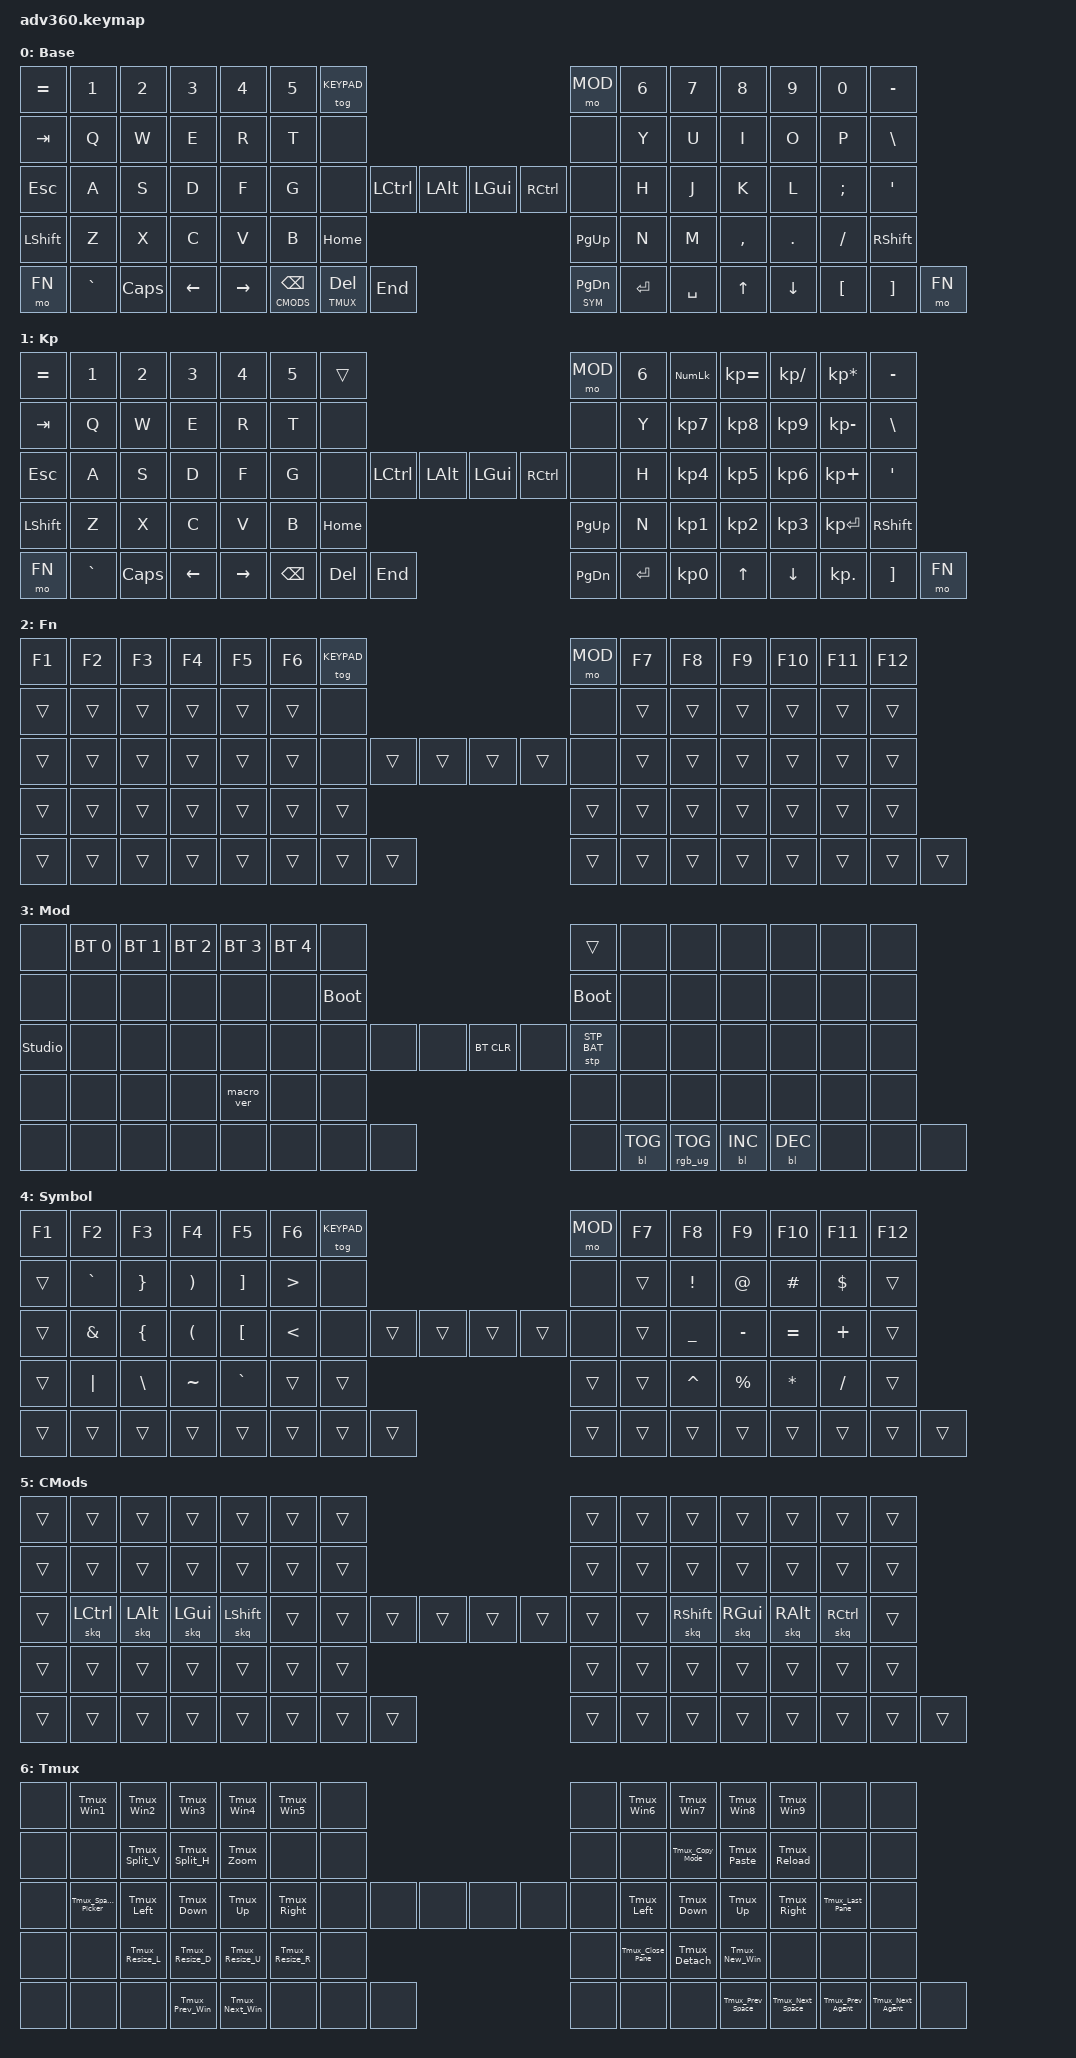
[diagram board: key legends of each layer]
#include <behaviors.dtsi>
#include <dt-bindings/zmk/keys.h>
#include <dt-bindings/zmk/bt.h>
#include <dt-bindings/zmk/rgb.h>
#include <dt-bindings/zmk/stp.h>
#include <dt-bindings/zmk/backlight.h>
#include <dt-bindings/zmk/pointing.h>

// Layer indices
#define BASE   0
#define KEYPAD 1
#define FN     2
#define MOD    3
#define SYM    4
#define CMODS  5
#define TMUX   6

/ {
    // Configure sticky keys for callum-style mods:
    //  - release-after-ms: auto-release if no key pressed within 1 second
    //  - quick-release: modifier releases as soon as the modified key is pressed (not on release)
    //  - ignore-modifiers is ON by default in ZMK, which allows chaining multiple sticky mods
    //    e.g. sk(Cmd) + sk(Shift) + key = Cmd+Shift+key
    behaviors {
      #include "macros.dtsi"
      #include "version.dtsi"

      skq: sticky_key_quick_release {
          compatible = "zmk,behavior-sticky-key";
          label = "STICKY_KEY_QUICK_RELEASE";
          #binding-cells = <1>;
          bindings = <&kp>;
          release-after-ms = <1000>;
          quick-release;
          ignore-modifiers;
      };

      // Layer-tap tuned for high-frequency thumb keys (Space, Backspace).
      // 175ms tapping-term is snappier than the default 200ms so quick
      // taps register immediately. Balanced flavor means the hold only
      // triggers if you're still holding when another key is pressed OR
      // the tapping-term expires — this prevents accidental layer
      // activation during fast typing bursts.
      //
      // require-prior-idle-ms: if any key was pressed within 125ms
      // before this key, it always resolves as a tap. This prevents
      // accidental layer activation during fast typing (e.g. "to only"
      // triggering SYM and producing "to#nly").
      //
      // quick-tap-ms: if this same key was tapped within 175ms,
      // immediately resolve as tap (e.g. double-space always spaces).
      ltq: layer_tap_quick {
          compatible = "zmk,behavior-hold-tap";
          label = "LAYER_TAP_QUICK";
          #binding-cells = <2>;
          flavor = "balanced";
          tapping-term-ms = <175>;
          quick-tap-ms = <175>;
          require-prior-idle-ms = <125>;
          bindings = <&mo>, <&kp>;
      };

      // Layer-tap WITHOUT prior-idle guard.
      // Use for thumbs whose tap (PG_DN, DEL) is never typed mid-word,
      // so we can drop the 125ms guard that would otherwise force a tap
      // after rapid typing. This lets sequences like vi}, ci{, da) fire
      // at full speed in Vim without losing the layer to the prior key.
      ltn: layer_tap_no_idle {
          compatible = "zmk,behavior-hold-tap";
          label = "LAYER_TAP_NO_IDLE";
          #binding-cells = <2>;
          flavor = "balanced";
          tapping-term-ms = <175>;
          quick-tap-ms = <175>;
          bindings = <&mo>, <&kp>;
      };
    };

  keymap {
    compatible = "zmk,keymap";

    // ┌──────────────────────────────────────────────────────────────────┐
    // │ LAYER 0: BASE                                                    │
    // │                                                                  │
    // │ Clean QWERTY — no dual-function keys on the home row.            │
    // │ Modifiers live on the Callum Mods layer (CMODS) accessed via     │
    // │ left deep thumb key.                                             │
    // │                                                                  │
    // │ Thumb layer-tap assignments:                                       │
    // │   BSPC  = ltq CMODS BSPC (hold=mods,    tap=backspace)            │
    // │   DEL   = ltq TMUX  DEL  (hold=tmux,    tap=delete)               │
    // │   PG_DN = ltn SYM   PG_DN (hold=symbols, tap=pgdn, no idle guard) │
    // │   SPACE = pure space (no layer)                                   │
    // │                                                                  │
    // │ Physical modifier keys (bridge keys between halves) are kept     │
    // │ for direct access: LCTRL, LALT, LGUI, RCTRL.                     │
    // └──────────────────────────────────────────────────────────────────┘
    default_layer {
      display-name = "Base";
      bindings = <
        &kp EQUAL &kp N1    &kp N2   &kp N3   &kp N4     &kp N5 &tog KEYPAD                                                                     &mo MOD &kp N6 &kp N7 &kp N8    &kp N9   &kp N0   &kp MINUS
        &kp TAB   &kp Q     &kp W    &kp E    &kp R      &kp T  &none                                                                           &none   &kp Y  &kp U  &kp I     &kp O    &kp P    &kp BSLH
        &kp ESC   &kp A     &kp S    &kp D    &kp F      &kp G  &none           &kp LCTRL &kp LALT  &kp LGUI  &kp RCTRL                          &none   &kp H  &kp J  &kp K     &kp L    &kp SEMI &kp SQT
        &kp LSHFT &kp Z     &kp X    &kp C    &kp V      &kp B                            &kp HOME  &kp PG_UP                                           &kp N  &kp M  &kp COMMA &kp DOT  &kp FSLH &kp RSHFT
        &mo FN    &kp GRAVE &kp CAPS &kp LEFT &kp RIGHT         &ltq CMODS BSPC &ltq TMUX DEL &kp END &ltn SYM PG_DN &kp ENTER &kp SPACE                                  &kp UP &kp DOWN  &kp LBKT &kp RBKT &mo FN
      >;
      // Thumb cluster (bottom row, middle 6 keys):
      //   Left:  ltq CMODS BSPC (tap=Backspace, hold=Callum mods), ltq TMUX DEL (tap=Delete, hold=Tmux), END
      //   Right: ltn SYM PG_DN (tap=PgDn, hold=Symbols — no idle guard, fast Vim), ENTER, SPACE
    };

    keypad {
      display-name = "Kp";
      bindings = <
        &kp EQUAL &kp N1    &kp N2   &kp N3   &kp N4     &kp N5 &trans                                                                          &mo MOD &kp N6 &kp KP_NUM &kp KP_EQUAL &kp KP_DIVIDE &kp KP_MULTIPLY &kp MINUS
        &kp TAB   &kp Q     &kp W    &kp E    &kp R      &kp T  &none                                                                           &none   &kp Y  &kp KP_N7  &kp KP_N8    &kp KP_N9     &kp KP_MINUS    &kp BSLH
        &kp ESC   &kp A     &kp S    &kp D    &kp F      &kp G  &none           &kp LCTRL &kp LALT  &kp LGUI  &kp RCTRL                          &none   &kp H  &kp KP_N4  &kp KP_N5    &kp KP_N6     &kp KP_PLUS     &kp SQT
        &kp LSHFT &kp Z     &kp X    &kp C    &kp V      &kp B                            &kp HOME  &kp PG_UP                                           &kp N  &kp KP_N1  &kp KP_N2    &kp KP_N3     &kp KP_ENTER    &kp RSHFT
        &mo FN    &kp GRAVE &kp CAPS &kp LEFT &kp RIGHT                &kp BSPC &kp DEL   &kp END   &kp PG_DN &kp ENTER &kp KP_N0                              &kp UP     &kp DOWN     &kp KP_DOT    &kp RBKT        &mo FN
      >;
    };

    fn {
      display-name = "Fn";
      bindings = <
        &kp F1 &kp F2 &kp F3 &kp F4 &kp F5 &kp F6 &tog KEYPAD                                                    &mo MOD &kp F7 &kp F8 &kp F9 &kp F10 &kp F11 &kp F12
        &trans &trans &trans &trans &trans &trans  &none                                                            &none   &trans &trans &trans &trans  &trans  &trans
        &trans &trans &trans &trans &trans &trans  &none        &trans &trans &trans &trans                          &none   &trans &trans &trans &trans  &trans  &trans
        &trans &trans &trans &trans &trans &trans                      &trans &trans                                        &trans &trans &trans &trans  &trans  &trans
        &trans &trans &trans &trans &trans               &trans &trans &trans &trans &trans &trans                                 &trans &trans &trans  &trans  &trans
      >;
    };

    mod {
      display-name = "Mod";
      bindings = <
        &none &bt BT_SEL 0 &bt BT_SEL 1 &bt BT_SEL 2 &bt BT_SEL 3 &bt BT_SEL 4 &none                                                                     &trans                 &none        &none        &none        &none &none &none
        &none &none        &none        &none        &none        &none        &bootloader                                                               &bootloader            &none        &none        &none        &none &none &none
        &studio_unlock &none        &none        &none        &none        &none        &none                   &none &none &bt BT_CLR &none                      &stp STP_BAT &none        &none        &none        &none &none &none
        &none &none        &none        &none        &macro_ver   &none                                      &none &none                                                        &none        &none        &none        &none &none &none
        &none &none        &none        &none        &none                                       &none &none &none &none      &bl BL_TOG &rgb_ug RGB_TOG                                     &bl BL_INC   &bl BL_DEC   &none &none &none
      >;
    };

    // ┌──────────────────────────────────────────────────────────────────┐
    // │ LAYER 4: SYMBOLS — Optimized for Go and Rust                     │
    // │                                                                  │
    // │ Access: Hold PG_DN key (ltn SYM PG_DN) — no idle guard, instant   │
    // │                                                                  │
    // │ Design rationale:                                                │
    // │  - Left home row: bracket pairs ( { [ < > ] } ) — the chars     │
    // │    you type most in Go/Rust struct/func/slice/generics           │
    // │  - Right home row: operators & special chars used heavily        │
    // │    in both languages                                             │
    // │  - Top row: still has F-keys for debugger shortcuts              │
    // │  - Number row positions: common operator combos                  │
    // │                                                                  │
    // │ Left hand (brackets & grouping):                                 │
    // │   Home: &  {  (  [  <  (& for Go/Rust refs, then brackets)      │
    // │   Above: `  }  )  ]  > (closing counterparts above)             │
    // │   Below: |  \  ~  `    (bitwise & escape operators)              │
    // │                                                                  │
    // │ Right hand (operators):                                          │
    // │   Home: _  -  =  +    (assignment family)                        │
    // │   Above: !  @  #  $   (Rust macros!, attributes, etc)            │
    // │   Below: ^  %  *  /   (arithmetic)                               │
    // │                                                                  │
    // │ For Go: := is easy → type : then SYM+= (or just type :=)        │
    // │ For Rust: -> is _ position minus key, => is = then >             │
    // └──────────────────────────────────────────────────────────────────┘
    symbol {
      display-name = "Symbol";
      bindings = <
        &kp F1    &kp F2    &kp F3   &kp F4    &kp F5         &kp F6 &tog KEYPAD                                                          &mo MOD &kp F7  &kp F8   &kp F9    &kp F10   &kp F11   &kp F12
        &trans    &kp GRAVE &kp RBRC &kp RPAR  &kp RBKT       &kp GT &none                                                                &none   &trans  &kp EXCL &kp AT    &kp HASH  &kp DLLR  &trans
        &trans    &kp AMPS  &kp LBRC &kp LPAR  &kp LBKT       &kp LT &none           &trans &trans &trans &trans                           &none   &trans  &kp UNDER &kp MINUS &kp EQUAL &kp PLUS &trans
        &trans    &kp PIPE  &kp BSLH &kp TILDE &kp GRAVE      &trans                         &trans &trans                                         &trans  &kp CARET &kp PRCNT &kp ASTRK &kp FSLH &trans
        &trans    &trans    &trans   &trans    &trans                       &trans &trans &trans &trans &trans &trans                                        &trans    &trans    &trans    &trans   &trans
      >;
    };

    // ┌──────────────────────────────────────────────────────────────────┐
    // │ LAYER 5: CALLUM MODS                                             │
    // │                                                                  │
    // │ Access: Hold BSPC key (ltq CMODS BSPC)                            │
    // │                                                                  │
    // │ Sticky one-shot modifiers on the home row.                       │
    // │ Tap the mod you want, release the layer key, then tap the        │
    // │ target key. The modifier applies to exactly one keypress.        │
    // │                                                                  │
    // │ Modifier layout (Mac-optimized — CAGS order):                    │
    // │   Left hand home row:                                            │
    // │     A → sticky Ctrl     (most common for terminal/IDE)           │
    // │     S → sticky Alt/Opt  (special chars, option combos)           │
    // │     D → sticky Cmd/GUI  (the primary Mac modifier)               │
    // │     F → sticky Shift    (capitalization, selections)             │
    // │                                                                  │
    // │   Right hand home row (mirrored):                                │
    // │     J → sticky Shift                                             │
    // │     K → sticky Cmd/GUI                                           │
    // │     L → sticky Alt/Opt                                           │
    // │     ; → sticky Ctrl                                              │
    // │                                                                  │
    // │ Why CAGS?                                                        │
    // │   On Mac, Cmd is the most-used modifier (copy/paste/save/etc).   │
    // │   Putting it on D (middle finger) gives the strongest finger     │
    // │   the most common job. Shift on F (index) is natural for the     │
    // │   finger that reaches the most. Ctrl on A (pinky) mirrors its    │
    // │   physical position on a standard keyboard.                      │
    // │                                                                  │
    // │ Usage examples:                                                  │
    // │   Cmd+S (save):    hold CMODS → tap D → release → tap S          │
    // │   Cmd+Shift+F:     hold CMODS → tap D → tap F → release → tap F  │
    // │   Ctrl+C (terminal): hold CMODS → tap A → release → tap C        │
    // └──────────────────────────────────────────────────────────────────┘
    callum_mods {
      display-name = "CMods";
      bindings = <
        &trans    &trans       &trans       &trans       &trans        &trans &trans                                                               &trans  &trans &trans        &trans       &trans       &trans        &trans
        &trans    &trans       &trans       &trans       &trans        &trans &trans                                                               &trans  &trans &trans        &trans       &trans       &trans        &trans
        &trans    &skq LCTRL   &skq LALT    &skq LGUI    &skq LSHFT   &trans &trans        &trans &trans &trans &trans                            &trans  &trans &skq RSHFT    &skq RGUI    &skq RALT    &skq RCTRL    &trans
        &trans    &trans       &trans       &trans       &trans        &trans                      &trans &trans                                          &trans &trans        &trans       &trans       &trans        &trans
        &trans    &trans       &trans       &trans       &trans                     &trans &trans  &trans &trans &trans &trans                                    &trans       &trans       &trans       &trans        &trans
      >;
    };

    // ┌──────────────────────────────────────────────────────────────────┐
    // │ LAYER 6: TMUX — prefix layer, drives tmux AND herdr              │
    // │                                                                  │
    // │ Access: Hold DEL key (ltq TMUX DEL) — tap=Delete                 │
    // │                                                                  │
    // │ Each key EMITS Ctrl+A (the prefix) + an action key. Ctrl+A is    │
    // │ the prefix in BOTH ~/.config/tmux/tmux.conf and herdr's          │
    // │ config.toml, so this layer means the same in either tool.        │
    // │ (tmux window ~ herdr tab; tmux session ~ herdr workspace.)       │
    // │ Canonical reference: prefix-layer-guide.md at the repo root.     │
    // │                                                                  │
    // │ NO SHIFT ON THIS LAYER. LSHFT/RSHFT are &none on purpose:        │
    // │ holding shift during macro playback would turn &kp LC(A) into    │
    // │ Ctrl+Shift+A, which is not the prefix, breaking every key here.  │
    // │ That is why resize has its own row instead of shift+HJKL, and    │
    // │ why new bindings must never rely on a shift chord.               │
    // │                                                                  │
    // │ Emitted-key rule:                                                │
    // │   plain letter  -> move within the pane grid  (h j k l)          │
    // │   shift letter  -> resize within the grid     (H J K L)          │
    // │   ctrl letter   -> jump out of the container:                    │
    // │        C-h/C-l = tab   C-k/C-j = space   C-p/C-n = agent         │
    // │                                                                  │
    // │ Number row: direct window/tab select (1-9)                       │
    // │                                                                  │
    // │ Left hand:                                                       │
    // │   Home row: A=picker, then pane nav — H  J  K  L (vim)           │
    // │   Above:    splits & zoom          — V  S  Z                     │
    // │   Below:    resize panes           — sH sJ sK sL                 │
    // │                                                                  │
    // │ Right hand:                                                      │
    // │   Home row: pane nav (dup) H J K L, then ; = last pane           │
    // │   Above:    copy-mode [  paste ]  reload(R)                      │
    // │             in herdr: [ = scrollback in $EDITOR, ] unbound       │
    // │   Below:    close-pane(X)  detach(D)  new-window(C)              │
    // │                                                                  │
    // │ Bottom nav cluster — all cross-container motion:                 │
    // │   left/right arrows = prev/next tab   (C-h / C-l)                │
    // │   up/down arrows    = prev/next space (C-k / C-j)                │
    // │   [ and ]           = prev/next agent (C-p / C-n, herdr only)    │
    // └──────────────────────────────────────────────────────────────────┘
    tmux {
      display-name = "Tmux";
      bindings = <
        &none         &Tmux_Win1    &Tmux_Win2     &Tmux_Win3     &Tmux_Win4      &Tmux_Win5 &none                                                                         &none   &Tmux_Win6     &Tmux_Win7      &Tmux_Win8      &Tmux_Win9      &none           &none
        &none         &none         &Tmux_Split_V  &Tmux_Split_H  &Tmux_Zoom      &none      &none                                                                             &none   &none          &Tmux_Copy_Mode &Tmux_Paste     &Tmux_Reload    &none           &none
        &none              &Tmux_Space_Picker &Tmux_Left         &Tmux_Down         &Tmux_Up           &Tmux_Right        &none              &none              &none              &none              &none              &none              &Tmux_Left         &Tmux_Down         &Tmux_Up           &Tmux_Right        &Tmux_Last_Pane    &none
        &none         &none         &Tmux_Resize_L &Tmux_Resize_D &Tmux_Resize_U  &Tmux_Resize_R                    &none &none                                                        &Tmux_Close_Pane &Tmux_Detach  &Tmux_New_Win   &none           &none           &none
        &none            &none            &none            &Tmux_Prev_Win   &Tmux_Next_Win   &none            &none            &none            &none            &none            &none            &Tmux_Prev_Space &Tmux_Next_Space &Tmux_Prev_Agent &Tmux_Next_Agent &none
      >;
    };

    extra2 {
      display-name = "Purple";
      status = "reserved";
    };

    extra3 {
      display-name = "Cyan";
      status = "reserved";
    };

    extra4 {
      display-name = "Yellow";
      status = "reserved";
    };
  };
};
